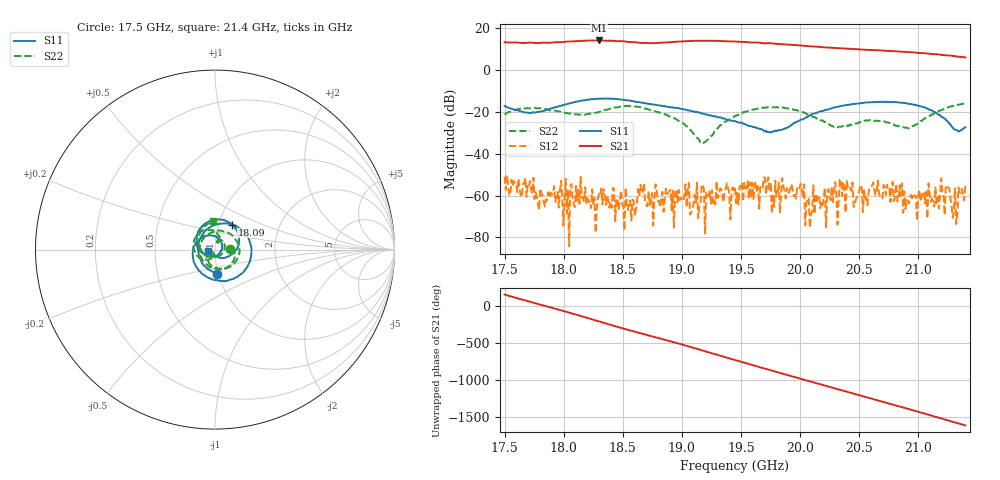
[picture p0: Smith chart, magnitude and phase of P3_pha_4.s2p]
!Created with skrf (http://scikit-rf.org).
# GHz S RI R 50.0
!freq ReS11 ImS11 ReS21 ImS21 ReS12 ImS12 ReS22 ImS22
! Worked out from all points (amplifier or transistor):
!   401 points, 17.5 GHz to 21.4 GHz, reference 50 ohm
!   highest |S21| = 13.9 dB at 18.3 GHz (marker M1)
!   |S21| within 3 dB of that: start of sweep to 20.15 GHz
!   unconditionally stable (mu >= 1): start of sweep to end of sweep
!   at 18.14 GHz: K = 35.64, MAG = 13.9 dB, |S12| = -51.1 dB
!   at 19.45 GHz: K = 71.24, MAG = 13.5 dB, |S12| = -56.6 dB
!   at 21.4 GHz: K = 136.71, MAG = 6.0 dB, |S12| = -54.8 dB
!   S11 on the Smith chart (normalised r, x): 17.5 GHz: 0.99, -0.27; 18.09 GHz: 1.16, +0.33; 21.4 GHz: 0.92, -0.01
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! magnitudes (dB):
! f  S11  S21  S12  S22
! 17.5 GHz  -17.3  13.1  -51.0  -21.4
! 17.72 GHz  -20.7  12.9  -57.1  -18.3
! 17.77 GHz  -20.2  12.7  -60.9  -18.4
! 18.09 GHz  -15.4  13.5  -65.5  -21.3
! 18.15 GHz  -14.7  13.7  -61.2  -21.3
! 18.27 GHz  -14.0  13.9  -77.8  -20.5
! 18.3 GHz  -13.9  13.9  -59.1  -20.2
! 18.59 GHz  -15.0  13.1  -62.5  -17.4
! 18.66 GHz  -15.7  12.8  -58.9  -18.1
! 18.81 GHz  -16.9  12.8  -62.5  -20.3
! 19.18 GHz  -20.9  13.8  -54.6  -35.3
! 19.45 GHz  -24.5  13.4  -56.6  -22.0
! 19.74 GHz  -29.7  12.6  -58.1  -17.8
! 20 GHz  -24.3  11.5  -56.8  -19.6
! 20.1 GHz  -21.2  11.1  -67.8  -22.4
! 20.36 GHz  -17.2  10.2  -60.2  -27.1
! 20.47 GHz  -16.3  9.8  -61.8  -25.7
! 20.76 GHz  -15.4  9.0  -56.8  -25.4
! 20.89 GHz  -16.0  8.5  -66.3  -27.7
! 21.25 GHz  -25.1  6.8  -56.3  -18.0
! 21.31 GHz  -28.6  6.4  -56.6  -17.0
! 21.4 GHz  -27.5  5.9  -54.8  -16.0
